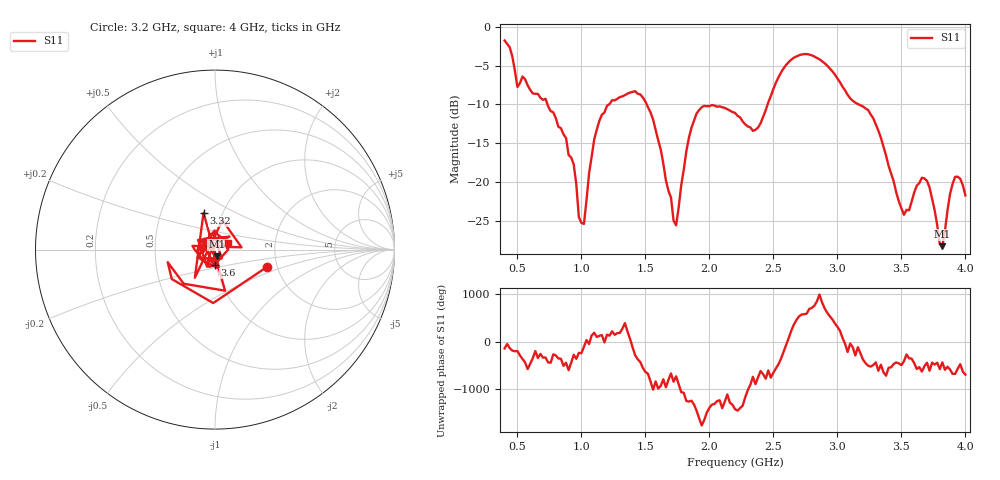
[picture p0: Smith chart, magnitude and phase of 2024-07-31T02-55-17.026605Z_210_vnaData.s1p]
!Created with skrf (http://scikit-rf.org).
# Hz S RI R 50.0
!freq ReS11 ImS11
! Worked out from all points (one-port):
!   181 points, 400 MHz to 4 GHz, reference 50 ohm
!   lowest |S11| = -28.2 dB at 3.82 GHz (marker M1), VSWR 1.08, Z = 50.8 - j3.82 ohm
!   |S11| at or under -10 dB: 734.9 MHz to 1.215 GHz (480.1 MHz wide, 49.2 % of centre); 1.51 GHz to 2.455 GHz (944.5 MHz wide, 47.6 % of centre); 3.167 GHz to end of sweep
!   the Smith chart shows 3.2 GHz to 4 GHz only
!   S11 on the Smith chart (normalised r, x): 3.2 GHz: 1.77, -0.37; 3.32 GHz: 0.81, +0.35; 3.6 GHz: 0.98, -0.17; 4 GHz: 1.15, +0.09
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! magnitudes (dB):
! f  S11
! 400 MHz  -1.8
! 500 MHz  -7.8
! 720 MHz  -9.3
! 860 MHz  -13.8
! 980 MHz  -24.5
! 1.02 GHz  -25.4
! 1.12 GHz  -13.2
! 1.3 GHz  -9.1
! 1.5 GHz  -9.6
! 1.62 GHz  -15.8
! 1.72 GHz  -25.0
! 1.76 GHz  -23.3
! 1.84 GHz  -14.3
! 1.9 GHz  -11.2
! 2.2 GHz  -11.1
! 2.38 GHz  -13.0
! 2.66 GHz  -4.0
! 2.86 GHz  -4.2
! 3.1 GHz  -9.2
! 3.2 GHz  -10.3
! 3.32 GHz  -13.4
! 3.5 GHz  -23.4
! 3.56 GHz  -23.6
! 3.6 GHz  -21.3
! 3.7 GHz  -19.8
! 3.82 GHz  -28.2
! 3.92 GHz  -19.3
! 4 GHz  -21.7
